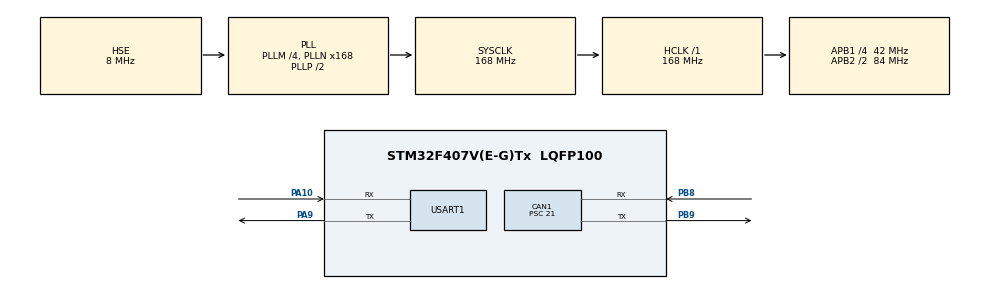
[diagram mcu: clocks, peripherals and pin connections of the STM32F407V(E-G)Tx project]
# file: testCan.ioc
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CAN1.BS1=CAN_BS1_5TQ
CAN1.BS2=CAN_BS2_2TQ
CAN1.CalculateBaudRate=250000
CAN1.CalculateTimeBit=4000
CAN1.CalculateTimeQuantum=500.0
CAN1.Mode=CAN_MODE_LOOPBACK
CAN1.Prescaler=21
CAN1.TXFP=ENABLE
Mcu.Family=STM32F4
Mcu.Name=STM32F407V(E-G)Tx
Mcu.Package=LQFP100
NVIC.CAN1_RX0_IRQn=true\:0\:0\:false\:false\:true\:true\:true\:true
NVIC.PriorityGroup=NVIC_PRIORITYGROUP_4
PA10.Mode=Asynchronous
PA10.Signal=USART1_RX
PA13.Mode=Serial_Wire
PA13.Signal=SYS_JTMS-SWDIO
PA14.Mode=Serial_Wire
PA14.Signal=SYS_JTCK-SWCLK
PA9.Mode=Asynchronous
PA9.Signal=USART1_TX
PB8.Mode=CAN_Activate
PB8.Signal=CAN1_RX
PB9.Mode=CAN_Activate
PB9.Signal=CAN1_TX
PH0-OSC_IN.Mode=HSE-External-Oscillator
PH0-OSC_IN.Signal=RCC_OSC_IN
PH1-OSC_OUT.Mode=HSE-External-Oscillator
PH1-OSC_OUT.Signal=RCC_OSC_OUT
ProjectManager.HeapSize=0x200
ProjectManager.StackSize=0x400
ProjectManager.TargetToolchain=MDK-ARM V5.32
RCC.48MHZClocksFreq_Value=84000000
RCC.AHBFreq_Value=168000000
RCC.APB1CLKDivider=RCC_HCLK_DIV4
RCC.APB1Freq_Value=42000000
RCC.APB1TimFreq_Value=84000000
RCC.APB2CLKDivider=RCC_HCLK_DIV2
RCC.APB2Freq_Value=84000000
RCC.APB2TimFreq_Value=168000000
RCC.CortexFreq_Value=168000000
RCC.HCLKFreq_Value=168000000
RCC.HSE_VALUE=8000000
RCC.HSI_VALUE=16000000
RCC.LSE_VALUE=32768
RCC.PLLM=4
RCC.PLLN=168
RCC.PLLSourceVirtual=RCC_PLLSOURCE_HSE
RCC.SYSCLKFreq_VALUE=168000000
RCC.SYSCLKSource=RCC_SYSCLKSOURCE_PLLCLK
RCC.VCOOutputFreq_Value=336000000
USART1.VirtualMode=VM_ASYNC
board=custom

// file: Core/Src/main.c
/* USER CODE BEGIN Header */
/**
  ******************************************************************************
  * @file           : main.c
  * @brief          : Main program body
  ******************************************************************************
  * @attention
  *
  * Copyright (c) 2024 STMicroelectronics.
  * All rights reserved.
  *
  * This software is licensed under terms that can be found in the LICENSE file
  * in the root directory of this software component.
  * If no LICENSE file comes with this software, it is provided AS-IS.
  *
  ******************************************************************************
  */
/* USER CODE END Header */
#include "main.h"
#include "can.h"
#include "usart.h"
#include "gpio.h"

/* USER CODE BEGIN Includes */
#include <stdio.h>
/* USER CODE END Includes */

void SystemClock_Config(void);

/* USER CODE BEGIN 0 */
CAN_TxHeaderTypeDef TxMessage;
CAN_RxHeaderTypeDef RxMessage;
void CAN1Filter_Config(void);
/* USER CODE END 0 */

int main(void)
{

  /* MCU Configuration--------------------------------------------------------*/

  /* Reset of all peripherals, Initializes the Flash interface and the Systick. */
  HAL_Init();

  /* Configure the system clock */
  SystemClock_Config();

  /* Initialize all configured peripherals */
  MX_GPIO_Init();
  MX_USART1_UART_Init();
  MX_CAN1_Init();
  /* USER CODE BEGIN 2 */
  // can 250k

  CAN1Filter_Config();
  if(HAL_CAN_Start(&hcan1)!=HAL_OK){
    printf("can start error!");
  }else{
    printf("can start ok!");
  }

  if (HAL_CAN_ActivateNotification(&hcan1, CAN_IT_RX_FIFO0_MSG_PENDING) !=  HAL_OK) {
        printf("can pending error!");
    }
  /* USER CODE END 2 */

  /* Infinite loop */
  while (1)
  {

    /* USER CODE BEGIN 3 */
      uint8_t datax[4] = {1,2,3,4};
      TxMessage.IDE = CAN_ID_STD;
      TxMessage.StdId = 0X01;
      TxMessage.RTR = CAN_RTR_DATA;
      TxMessage.DLC = 4;
      uint32_t txMailBox;
      if(HAL_CAN_AddTxMessage(&hcan1, &TxMessage, datax, &txMailBox)!=HAL_OK){
        printf("send error");
      }else{
        printf("s.");
      }
      HAL_Delay(2000);
  }
  /* USER CODE END 3 */
}

void SystemClock_Config(void)
{
  RCC_OscInitTypeDef RCC_OscInitStruct = {0};
  RCC_ClkInitTypeDef RCC_ClkInitStruct = {0};

  /** Configure the main internal regulator output voltage
  */
  __HAL_RCC_PWR_CLK_ENABLE();
  __HAL_PWR_VOLTAGESCALING_CONFIG(PWR_REGULATOR_VOLTAGE_SCALE1);

  /** Initializes the RCC Oscillators according to the specified parameters
  * in the RCC_OscInitTypeDef structure.
  */
  RCC_OscInitStruct.OscillatorType = RCC_OSCILLATORTYPE_HSE;
  RCC_OscInitStruct.HSEState = RCC_HSE_ON;
  RCC_OscInitStruct.PLL.PLLState = RCC_PLL_ON;
  RCC_OscInitStruct.PLL.PLLSource = RCC_PLLSOURCE_HSE;
  RCC_OscInitStruct.PLL.PLLM = 4;
  RCC_OscInitStruct.PLL.PLLN = 168;
  RCC_OscInitStruct.PLL.PLLP = RCC_PLLP_DIV2;
  RCC_OscInitStruct.PLL.PLLQ = 4;
  if (HAL_RCC_OscConfig(&RCC_OscInitStruct) != HAL_OK)
  {
    Error_Handler();
  }

  /** Initializes the CPU, AHB and APB buses clocks
  */
  RCC_ClkInitStruct.ClockType = RCC_CLOCKTYPE_HCLK|RCC_CLOCKTYPE_SYSCLK
                              |RCC_CLOCKTYPE_PCLK1|RCC_CLOCKTYPE_PCLK2;
  RCC_ClkInitStruct.SYSCLKSource = RCC_SYSCLKSOURCE_PLLCLK;
  RCC_ClkInitStruct.AHBCLKDivider = RCC_SYSCLK_DIV1;
  RCC_ClkInitStruct.APB1CLKDivider = RCC_HCLK_DIV4;
  RCC_ClkInitStruct.APB2CLKDivider = RCC_HCLK_DIV2;

  if (HAL_RCC_ClockConfig(&RCC_ClkInitStruct, FLASH_LATENCY_5) != HAL_OK)
  {
    Error_Handler();
  }
}

/* USER CODE BEGIN 4 */
void HAL_CAN_RxFifo0MsgPendingCallback(CAN_HandleTypeDef *hcan)
{

     if(hcan->Instance == hcan1.Instance){
        uint8_t  data[8];
        HAL_StatusTypeDef	status;
        status = HAL_CAN_GetRxMessage(hcan, CAN_RX_FIFO0, &RxMessage, data);
        printf("recv");
    }
     UNUSED(hcan);

  /* NOTE : This function Should not be modified, when the callback is needed,
            the HAL_CAN_TxMailbox2AbortCallback could be implemented in the
            user file
   */
}

void CAN1Filter_Config(void)
{
    CAN_FilterTypeDef  sFilterConfig;

    sFilterConfig.FilterBank = 0;        //CAN过滤器编号，范围0-27
    sFilterConfig.FilterMode = CAN_FILTERMODE_IDMASK;   //CAN过滤器模式，掩码模式或列表模式
    sFilterConfig.FilterScale = CAN_FILTERSCALE_32BIT;  //CAN过滤器尺度，16位或32位
    sFilterConfig.FilterIdHigh = 0x000 << 5;			//32位下，存储要过滤ID的高16位
    sFilterConfig.FilterIdLow = 0x0000;					//32位下，存储要过滤ID的低16位
    sFilterConfig.FilterMaskIdHigh = 0x0000;			//掩码模式下，存储的是掩码
    sFilterConfig.FilterMaskIdLow = 0x0000;
    sFilterConfig.FilterFIFOAssignment = 0;				//报文通过过滤器的匹配后，存储到哪个FIFO
    sFilterConfig.FilterActivation = ENABLE;    		//激活过滤器
    sFilterConfig.SlaveStartFilterBank = 14;

    if (HAL_CAN_ConfigFilter(&hcan1, &sFilterConfig) != HAL_OK)
		 {
        Error_Handler();
       }
	else{ printf("HAL_CAN_ConfigFilter1 is HAL_OK\r\n"); }
}

/* USER CODE END 4 */

void Error_Handler(void)
{
  __disable_irq();
  while (1)
  {
  }
}
